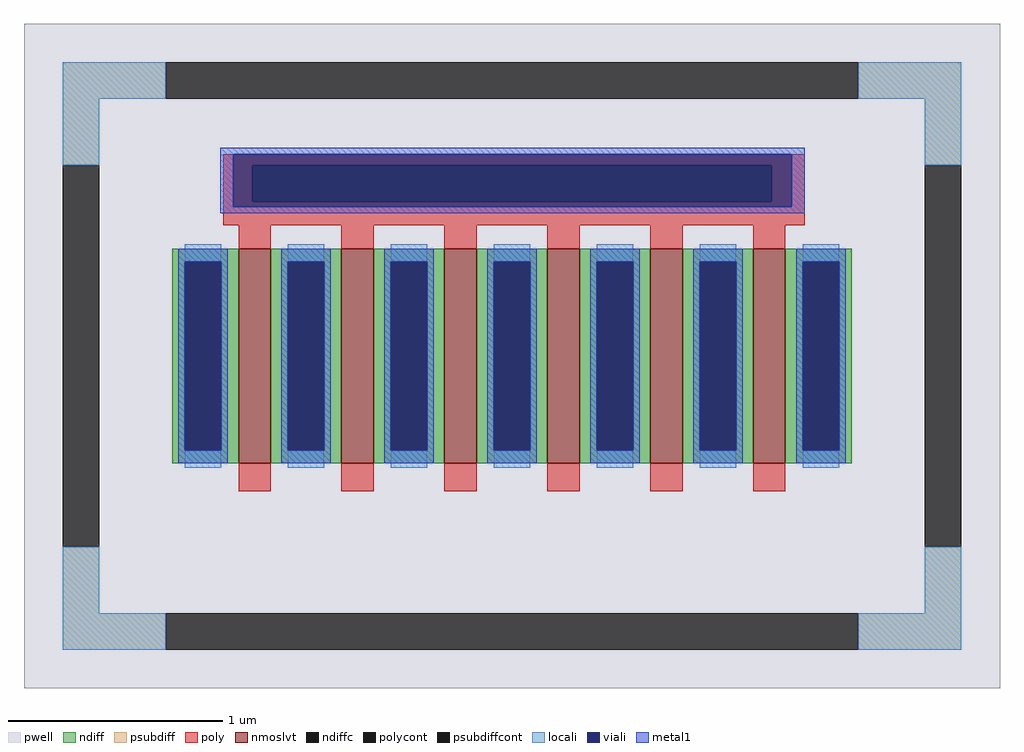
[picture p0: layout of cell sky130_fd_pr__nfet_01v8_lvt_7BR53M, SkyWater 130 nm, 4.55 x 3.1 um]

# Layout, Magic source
magic
tech sky130A
magscale 1 2
<< pwell >>
rect -455 -310 455 310
<< nmoslvt >>
rect -255 -100 -225 100
rect -159 -100 -129 100
rect -63 -100 -33 100
rect 33 -100 63 100
rect 129 -100 159 100
rect 225 -100 255 100
<< ndiff >>
rect -317 88 -255 100
rect -317 -88 -305 88
rect -271 -88 -255 88
rect -317 -100 -255 -88
rect -225 88 -159 100
rect -225 -88 -209 88
rect -175 -88 -159 88
rect -225 -100 -159 -88
rect -129 88 -63 100
rect -129 -88 -113 88
rect -79 -88 -63 88
rect -129 -100 -63 -88
rect -33 88 33 100
rect -33 -88 -17 88
rect 17 -88 33 88
rect -33 -100 33 -88
rect 63 88 129 100
rect 63 -88 79 88
rect 113 -88 129 88
rect 63 -100 129 -88
rect 159 88 225 100
rect 159 -88 175 88
rect 209 -88 225 88
rect 159 -100 225 -88
rect 255 88 317 100
rect 255 -88 271 88
rect 305 -88 317 88
rect 255 -100 317 -88
<< ndiffc >>
rect -305 -88 -271 88
rect -209 -88 -175 88
rect -113 -88 -79 88
rect -17 -88 17 88
rect 79 -88 113 88
rect 175 -88 209 88
rect 271 -88 305 88
<< psubdiff >>
rect -419 240 -323 274
rect 323 240 419 274
rect -419 178 -385 240
rect 385 178 419 240
rect -419 -240 -385 -178
rect 385 -240 419 -178
rect -419 -274 -323 -240
rect 323 -274 419 -240
<< psubdiffcont >>
rect -323 240 323 274
rect -419 -178 -385 178
rect 385 -178 419 178
rect -323 -274 323 -240
<< poly >>
rect -269 178 273 188
rect -269 144 -242 178
rect 242 144 273 178
rect -269 122 273 144
rect -255 100 -225 122
rect -159 100 -129 122
rect -63 100 -33 122
rect 33 100 63 122
rect 129 100 159 122
rect 225 100 255 122
rect -255 -126 -225 -100
rect -159 -126 -129 -100
rect -63 -126 -33 -100
rect 33 -126 63 -100
rect 129 -126 159 -100
rect 225 -126 255 -100
<< polycont >>
rect -242 144 242 178
<< locali >>
rect -419 240 -323 274
rect 323 240 419 274
rect -419 178 -385 240
rect 385 178 419 240
rect -305 88 -271 104
rect -305 -104 -271 -88
rect -209 88 -175 104
rect -209 -104 -175 -88
rect -113 88 -79 104
rect -113 -104 -79 -88
rect -17 88 17 104
rect -17 -104 17 -88
rect 79 88 113 104
rect 79 -104 113 -88
rect 175 88 209 104
rect 175 -104 209 -88
rect 271 88 305 104
rect 271 -104 305 -88
rect -419 -240 -385 -178
rect 385 -240 419 -178
rect -419 -274 -323 -240
rect 323 -274 419 -240
<< viali >>
rect -260 178 261 188
rect -260 144 -242 178
rect -242 144 242 178
rect 242 144 261 178
rect -260 139 261 144
rect -305 -88 -271 88
rect -209 -88 -175 88
rect -113 -88 -79 88
rect -17 -88 17 88
rect 79 -88 113 88
rect 175 -88 209 88
rect 271 -88 305 88
<< metal1 >>
rect -272 188 273 194
rect -272 139 -260 188
rect 261 139 273 188
rect -272 133 273 139
rect -311 88 -265 100
rect -311 -88 -305 88
rect -271 -88 -265 88
rect -311 -100 -265 -88
rect -215 88 -169 100
rect -215 -88 -209 88
rect -175 -88 -169 88
rect -215 -100 -169 -88
rect -119 88 -73 100
rect -119 -88 -113 88
rect -79 -88 -73 88
rect -119 -100 -73 -88
rect -23 88 23 100
rect -23 -88 -17 88
rect 17 -88 23 88
rect -23 -100 23 -88
rect 73 88 119 100
rect 73 -88 79 88
rect 113 -88 119 88
rect 73 -100 119 -88
rect 169 88 215 100
rect 169 -88 175 88
rect 209 -88 215 88
rect 169 -100 215 -88
rect 265 88 311 100
rect 265 -88 271 88
rect 305 -88 311 88
rect 265 -100 311 -88
<< properties >>
string gencell sky130_fd_pr__nfet_01v8_lvt
string FIXED_BBOX -402 -257 402 257
string parameters w 1 l 0.150 m 1 nf 6 diffcov 100 polycov 100 guard 1 glc 1 grc 1 gtc 1 gbc 1 tbcov 100 rlcov 100 topc 1 botc 0 poverlap 0 doverlap 1 lmin 0.15 wmin 0.42 compatible {sky130_fd_pr__nfet_01v8 sky130_fd_pr__nfet_01v8_lvt  sky130_fd_bs_flash__special_sonosfet_star  sky130_fd_pr__nfet_g5v0d10v5 sky130_fd_pr__nfet_05v0_nvt  sky130_fd_pr__nfet_03v3_nvt} full_metal 1 viasrc 100 viadrn 100 viagate 100 viagb 0 viagr 0 viagl 0 viagt 0
string library sky130
<< end >>
